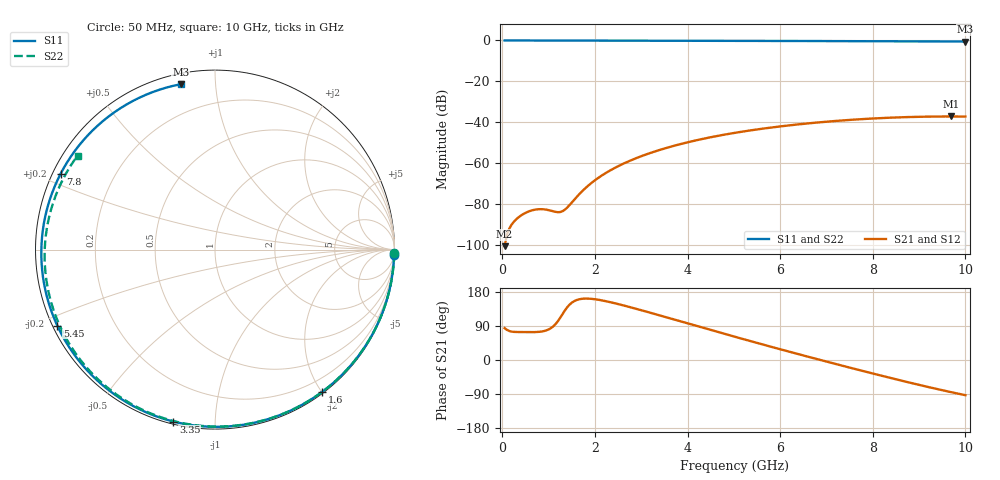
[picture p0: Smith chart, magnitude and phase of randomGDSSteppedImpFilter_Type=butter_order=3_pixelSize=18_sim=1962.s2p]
! freq	dB(S11)	phase(S11)	dB(S12)	phase(S12)
!  dB(S21)	phase(S21)	dB(S22)	phase(S22)
!S-par simulation data
#  GHz  S  DB  R 50
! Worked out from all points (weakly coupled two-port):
!   200 points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, 50 MHz to 10 GHz, reference 50 ohm
!   highest |S21| = -37.08 dB at 9.7 GHz (marker M1); lowest = -100.3 dB at 50 MHz (marker M2)
!   lowest |S11| = -0.5 dB at 10 GHz (marker M3), VSWR 32.88, Z = 2.53 + j40.7 ohm
!   |S11| at or under -10 dB: nowhere
!   |S22| runs from -0.7 to 0.0 dB; largest |S21 - S12| = 0
!   S11 on the Smith chart (normalised r, x): 50 MHz: 2, -69; 1.6 GHz: 0.02, -2.00; 3.35 GHz: 0.01, -0.79; 5.45 GHz: 0.01, -0.23; 7.8 GHz: 0.02, +0.23; 10 GHz: 0.05, +0.81
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0.05  -0.01 -1.6  -100.34 84.1  -100.34 84.1  -0.00 -1.2
0.35  -0.02 -11.9  -86.27 73.8  -86.27 73.8  -0.01 -8.3
0.7  -0.03 -23.8  -82.56 73.6  -82.56 73.6  -0.02 -16.6
1.45  -0.06 -48.4  -80.35 145.8  -80.35 145.8  -0.04 -34.0
1.6  -0.07 -53.1  -76.49 158.0  -76.49 158.0  -0.05 -37.4
1.75  -0.07 -57.8  -72.98 161.8  -72.98 161.8  -0.05 -40.9
2.05  -0.08 -67.0  -67.39 159.5  -67.39 159.5  -0.06 -47.6
2.4  -0.09 -77.3  -62.53 150.7  -62.53 150.7  -0.07 -55.4
2.85  -0.11 -90.1  -57.79 136.4  -57.79 136.4  -0.08 -65.3
3.35  -0.12 -103.6  -53.75 119.4  -53.75 119.4  -0.10 -75.9
3.4  -0.13 -104.9  -53.39 117.7  -53.39 117.7  -0.10 -77.0
4.25  -0.16 -126.3  -48.39 88.1  -48.39 88.1  -0.13 -94.6
5.05  -0.20 -145.2  -44.96 60.4  -44.96 60.4  -0.17 -110.6
5.45  -0.22 -154.2  -43.57 46.8  -43.57 46.8  -0.19 -118.4
6.05  -0.25 -167.6  -41.80 26.7  -41.80 26.7  -0.23 -130.1
6.7  -0.29 178.1  -40.25 5.5  -40.25 5.5  -0.28 -142.8
7.25  -0.33 166.0  -39.18 -12.1  -39.18 -12.1  -0.32 -153.6
7.8  -0.37 153.8  -38.33 -29.4  -38.33 -29.4  -0.38 -164.7
8.35  -0.41 141.3  -37.70 -46.4  -37.70 -46.4  -0.44 -176.2
9.05  -0.46 125.0  -37.22 -67.1  -37.22 -67.1  -0.52 168.4
9.7  -0.51 109.2  -37.08 -85.1  -37.08 -85.1  -0.61 153.1
10  -0.53 101.7  -37.11 -92.9  -37.11 -92.9  -0.65 145.6
